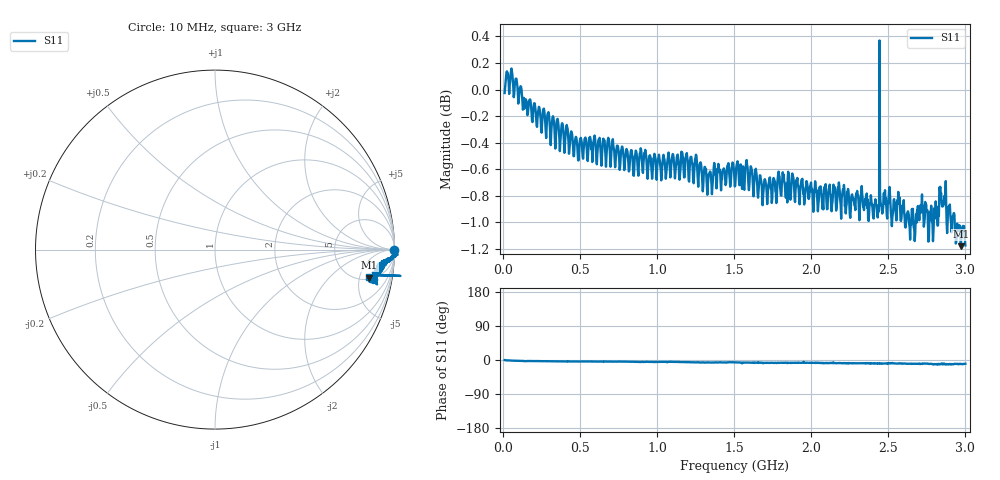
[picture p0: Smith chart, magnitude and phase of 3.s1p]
# HZ S RI R 50
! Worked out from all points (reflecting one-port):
!   1010 points, 10 MHz to 3 GHz, reference 50 ohm
!   lowest |S11| = -1.2 dB at 2.97 GHz (marker M1), VSWR 14.76, Z = 268 - j353 ohm
!   phase of S11 starts at -0 deg and turns -10 deg over the sweep
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1e7  0.9969 -0.00378
4.555996e7  1.006 -0.0239
1.492765e8  0.9898 -0.0505
3.863429e8  0.9682 -0.0653
7.597225e8  0.9336 -0.0677
8.841824e8  0.9378 -0.0838
1.133102e9  0.9418 -0.08
1.296085e9  0.9102 -0.0987
1.506482e9  0.9143 -0.1019
1.559822e9  0.9237 -0.1067
1.879861e9  0.9192 -0.1236
1.959871e9  0.9059 -0.1193
2.253241e9  0.8845 -0.1357
2.416224e9  0.898 -0.1426
2.425114e9  0.8935 -0.1428
2.428077e9  0.8854 -0.1538
2.457711e9  0.8907 -0.153
2.460674e9  0.8869 -0.1419
2.516977e9  0.8896 -0.1262
2.62662e9  0.8864 -0.155
2.70663e9  0.8827 -0.1683
2.74219e9  0.8894 -0.1518
2.80442e9  0.8767 -0.1773
2.845907e9  0.8934 -0.1498
2.88443e9  0.8738 -0.1703
2.934807e9  0.875 -0.1557
2.970367e9  0.8589 -0.1566
3e9  0.8607 -0.15
